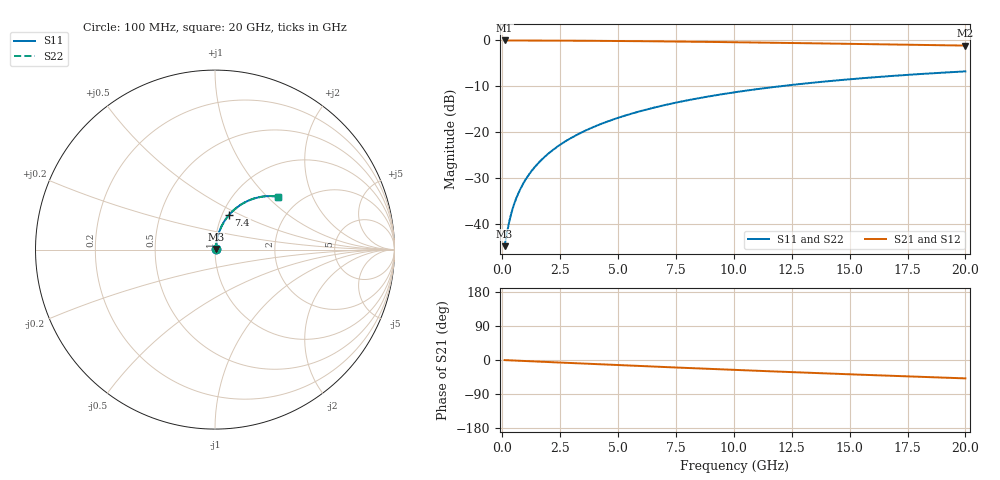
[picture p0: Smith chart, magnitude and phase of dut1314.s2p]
! Touchstone file exported from HFSS 2026.1.0
!  File:  C:/ffzhzh/LocalFiles/Ansys_Project_Files/temp_train_BSMRDL_1314_1783178416_22436.aedt
!  Generated:  11:21:29 PM Jul  4, 2026
!  Design:  BSMRDL
!  Project:  temp_train_BSMRDL_1314_1783178416_22436
! Variables:
!  h_bsmrdl = 2.82um
!  h_ox = 20um
!  h_rdl = 5um
!  h_sub = 80um
!  h_tmrdl = 5um
!  h_tsv = 80um
!  h_via = 3um
!  l_bsmrdl = 703.98um
!  l_sub = 1103.98um
!  l_tmrdl = 200um
!  m_sub = 200um
!  pitch = 46.46um
!  r_tsv = 6um
!  s_tmrdl = 10um
!  w_bsmrdl = 18.93um
!  w_sub = 500um
!  w_tmrdl = 12um
!  x_tsv_center1 = 206um
!  x_tsv_center2 = 928.91um
!  x_tsv_center3 = 1140.91um
!  x_tsv_center4 = 1863.82um
!  x_tsv_center5 = 2075.82um
!  x_tsv_center6 = 2798.73um
# GHz S MA R 50.000000
! Terminal data exported
! Port[1] = BSM_RDL1_1_T1
! Port[2] = BSM_RDL1_1_T2
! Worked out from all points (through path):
!   200 points, 100 MHz to 20 GHz, reference 50 ohm
!   highest |S21| = -0.04 dB at 100 MHz (marker M1); lowest = -1.2 dB at 20 GHz (marker M2)
!   group delay of S21, straight-line fit = 6.75 ps
!   lowest |S11| = -44.7 dB at 100 MHz (marker M3), VSWR 1.01, Z = 50.5 + j0.319 ohm
!   |S11| at or under -10 dB: start of sweep to 11.99 GHz
!   |S22| runs from -44.7 to -6.8 dB; largest |S21 - S12| = 4.2e-15
!   S11 on the Smith chart (normalised r, x): 100 MHz: 1.01, +0.01; 7.4 GHz: 1.08, +0.43; 20 GHz: 1.56, +1.16
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0.1  0.005794 33.1  0.9952 -0.3  0.9952 -0.3  0.005794 33.1
! Gamma 0 0 0 0
! Port Impedance 50 0 50 0
0.2  0.008042 51.3  0.995 -0.6  0.995 -0.6  0.008042 51.3
0.3  0.01071 60.5  0.9948 -0.8  0.9948 -0.8  0.01071 60.5
0.4  0.01349 65.7  0.9946 -1.1  0.9946 -1.1  0.01349 65.7
0.5  0.0163 69.0  0.9944 -1.4  0.9944 -1.4  0.0163 69.0
0.6  0.01912 71.3  0.9942 -1.7  0.9942 -1.7  0.01912 71.3
0.8  0.02477 74.2  0.9939 -2.2  0.9939 -2.2  0.02477 74.2
1.1  0.03329 76.6  0.9935 -3.0  0.9935 -3.0  0.03329 76.6
1.3  0.03899 77.4  0.9932 -3.5  0.9932 -3.5  0.03899 77.4
1.6  0.04757 78.1  0.9927 -4.3  0.9927 -4.3  0.04757 78.1
2.1  0.0619 78.4  0.9917 -5.7  0.9917 -5.7  0.0619 78.4
2.7  0.07907 77.9  0.9903 -7.3  0.9903 -7.3  0.07907 77.9
3.5  0.1018 76.7  0.9879 -9.4  0.9879 -9.4  0.1018 76.7
4.2  0.1215 75.4  0.9854 -11.2  0.9854 -11.2  0.1215 75.4
5  0.1436 73.6  0.9821 -13.3  0.9821 -13.3  0.1436 73.6
6.8  0.1919 69.5  0.973 -18.0  0.973 -18.0  0.1919 69.5
7.4  0.2075 68.0  0.9695 -19.5  0.9695 -19.5  0.2075 68.0
8.7  0.2402 64.9  0.9613 -22.8  0.9613 -22.8  0.2402 64.9
10.1  0.2737 61.6  0.9517 -26.3  0.9517 -26.3  0.2737 61.6
13.4  0.3456 54.0  0.9269 -34.1  0.9269 -34.1  0.3456 54.0
16.7  0.4074 46.8  0.9009 -41.5  0.9009 -41.5  0.4074 46.8
20  0.4591 40.0  0.8755 -48.5  0.8755 -48.5  0.4591 40.0
